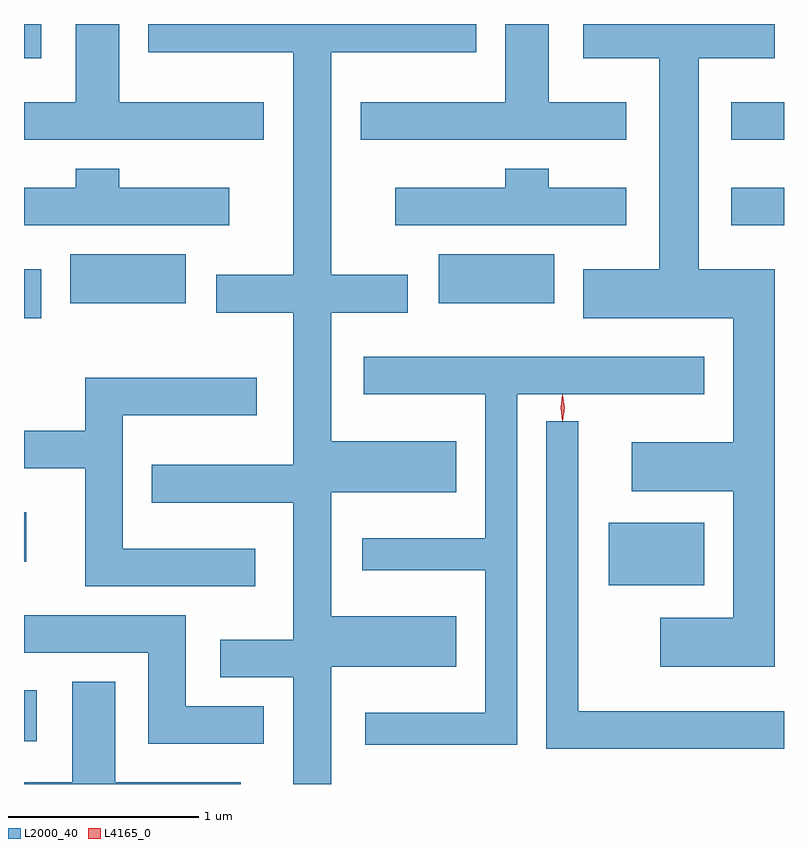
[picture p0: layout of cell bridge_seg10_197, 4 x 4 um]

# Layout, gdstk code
import gdstk
lib = gdstk.Library(unit=1e-6, precision=1e-09)
def R(c, l, rs):  # rectangles x0, y0, x1, y1
    for r in rs: c.add(gdstk.rectangle(r[:2], r[2:], *l))
def P(c, l, *ps):  # polygons
    for p in ps: c.add(gdstk.Polygon(p, *l))
L2000_40 = (2000, 40)
L4165_0 = (4165, 0)

bridge_seg10_197 = lib.new_cell('bridge_seg10_197')
R(bridge_seg10_197, L2000_40, [(1724.653,2140.491,1724.719,2140.759), (1727.731,2141.311,1728.234,2141.639), (1724.653,2141.436,1724.664,2141.694), (1724.653,2142.716,1724.744,2142.974), (1724.896,2142.796,1725.504,2143.054), (1726.836,2142.796,1727.444,2143.054), (1728.376,2143.206,1728.653,2143.404), (1728.376,2143.656,1728.653,2143.854), (1724.653,2144.086,1724.744,2144.265)])
P(bridge_seg10_197, L2000_40, [(1728.604,2142.974),(1728.204,2142.974),(1728.204,2144.086),(1728.604,2144.086),(1728.604,2144.265),(1727.596,2144.265),(1727.596,2144.086),(1727.996,2144.086),(1727.996,2142.974),(1727.596,2142.974),(1727.596,2142.716),(1728.386,2142.716),(1728.386,2142.064),(1727.851,2142.064),(1727.851,2141.806),(1728.386,2141.806),(1728.386,2141.139),(1728.001,2141.139),(1728.001,2140.881),(1728.604,2140.881)],
  [(1725.914,2143.854),(1725.154,2143.854),(1725.154,2144.265),(1724.926,2144.265),(1724.926,2143.854),(1724.653,2143.854),(1724.653,2143.656),(1725.914,2143.656)],
  [(1727.824,2143.854),(1727.414,2143.854),(1727.414,2144.265),(1727.186,2144.265),(1727.186,2143.854),(1726.426,2143.854),(1726.426,2143.656),(1727.824,2143.656)],
  [(1726.269,2140.881),(1726.929,2140.881),(1726.929,2141.149),(1726.269,2141.149),(1726.269,2141.801),(1726.929,2141.801),(1726.929,2142.069),(1726.269,2142.069),(1726.269,2142.746),(1726.674,2142.746),(1726.674,2142.944),(1726.269,2142.944),(1726.269,2144.116),(1727.034,2144.116),(1727.034,2144.265),(1725.306,2144.265),(1725.306,2144.116),(1726.071,2144.116),(1726.071,2142.944),(1725.666,2142.944),(1725.666,2142.746),(1726.071,2142.746),(1726.071,2141.944),(1725.326,2141.944),(1725.326,2141.746),(1726.071,2141.746),(1726.071,2141.024),(1725.686,2141.024),(1725.686,2140.826),(1726.071,2140.826),(1726.071,2140.265),(1726.269,2140.265)],
  [(1725.734,2143.404),(1725.154,2143.404),(1725.154,2143.504),(1724.926,2143.504),(1724.926,2143.404),(1724.653,2143.404),(1724.653,2143.206),(1725.734,2143.206)],
  [(1727.824,2143.404),(1727.414,2143.404),(1727.414,2143.504),(1727.186,2143.504),(1727.186,2143.404),(1726.606,2143.404),(1726.606,2143.206),(1727.824,2143.206)],
  [(1727.249,2142.316),(1728.234,2142.316),(1728.234,2142.514),(1726.441,2142.514),(1726.441,2142.316),(1727.081,2142.316),(1727.081,2141.559),(1726.433,2141.559),(1726.433,2141.391),(1727.081,2141.391),(1727.081,2140.639),(1726.448,2140.639),(1726.448,2140.471),(1727.249,2140.471)],
  [(1725.869,2141.504),(1725.174,2141.504),(1725.174,2142.206),(1725.879,2142.206),(1725.879,2142.404),(1724.976,2142.404),(1724.976,2142.124),(1724.653,2142.124),(1724.653,2141.926),(1724.976,2141.926),(1724.976,2141.306),(1725.869,2141.306)],
  [(1728.653,2140.649),(1727.569,2140.649),(1727.569,2142.173),(1727.401,2142.173),(1727.401,2140.451),(1728.653,2140.451)],
  [(1725.914,2140.674),(1725.504,2140.674),(1725.504,2141.154),(1724.653,2141.154),(1724.653,2140.956),(1725.306,2140.956),(1725.306,2140.476),(1725.914,2140.476)],
  [(1725.794,2140.274),(1725.134,2140.274),(1725.134,2140.804),(1724.906,2140.804),(1724.906,2140.274),(1724.653,2140.274),(1724.653,2140.265),(1725.794,2140.265)])
P(bridge_seg10_197, L4165_0, [(1727.487,2142.178),(1727.478,2142.244),(1727.487,2142.311),(1727.488,2142.311),(1727.488,2142.311),(1727.498,2142.244),(1727.488,2142.178),(1727.488,2142.178)],
  [(1727.488,2142.174),(1727.487,2142.175),(1727.478,2142.244),(1727.487,2142.313),(1727.488,2142.314),(1727.488,2142.313),(1727.498,2142.244),(1727.488,2142.175)])

lib.write_gds('bridge_seg10_197.gds')
